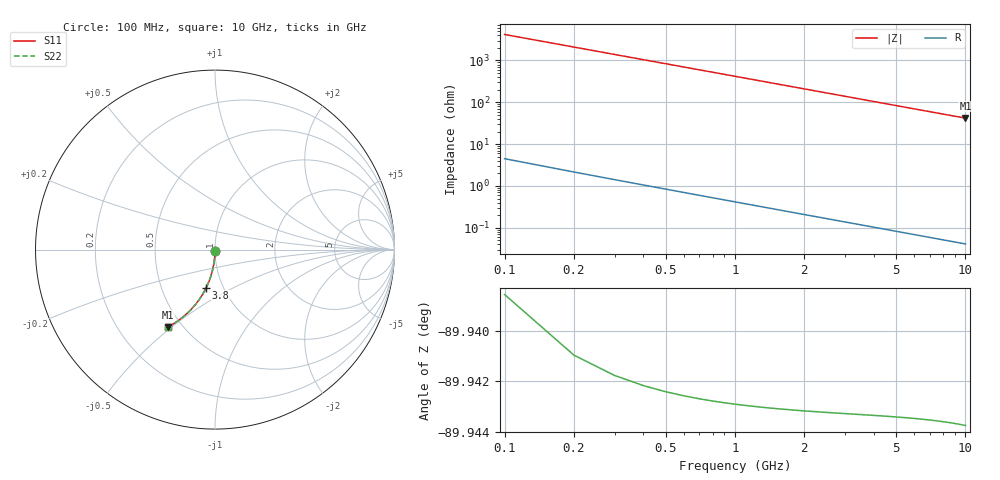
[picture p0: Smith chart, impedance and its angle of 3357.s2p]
# Hz S RI R 50.00
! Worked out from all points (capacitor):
!   100 points, 100 MHz to 10 GHz, reference 50 ohm
!   read as one part in shunt: C = 380 fF near 100 MHz
!   lowest |Z| = 42 ohm at 10 GHz (marker M1)
!   S11 on the Smith chart (normalised r, x): 100 MHz: 1.00, -0.01; 3.8 GHz: 0.83, -0.37; 10 GHz: 0.42, -0.48
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1e8  -2.47e-05 -0.00588  0.9999 -0.00605  0.9999 -0.00605  -2.47e-05 -0.00588
2e8  -0.000137 -0.0118  0.9998 -0.0121  0.9998 -0.0121  -0.000137 -0.0118
3e8  -0.000321 -0.0176  0.9996 -0.0182  0.9996 -0.0182  -0.000321 -0.0176
4e8  -0.000576 -0.0235  0.9994 -0.0242  0.9994 -0.0242  -0.000576 -0.0235
5e8  -0.000902 -0.0294  0.9991 -0.0302  0.9991 -0.0302  -0.000902 -0.0294
6e8  -0.0013 -0.0352  0.9987 -0.0363  0.9987 -0.0363  -0.0013 -0.0352
7e8  -0.00177 -0.0411  0.9982 -0.0423  0.9982 -0.0423  -0.00177 -0.0411
8e8  -0.0023 -0.0469  0.9977 -0.0483  0.9977 -0.0483  -0.0023 -0.0469
9e8  -0.00291 -0.0528  0.9971 -0.0543  0.9971 -0.0543  -0.00291 -0.0528
1.1e9  -0.00434 -0.0644  0.9956 -0.0663  0.9956 -0.0663  -0.00434 -0.0644
1.4e9  -0.007 -0.0818  0.993 -0.0842  0.993 -0.0842  -0.007 -0.0818
1.8e9  -0.0115 -0.1046  0.9885 -0.1078  0.9885 -0.1078  -0.0115 -0.1046
2.1e9  -0.0156 -0.1216  0.9844 -0.1253  0.9844 -0.1253  -0.0156 -0.1216
2.5e9  -0.0219 -0.1438  0.978 -0.1482  0.978 -0.1482  -0.0219 -0.1438
2.9e9  -0.0293 -0.1656  0.9707 -0.1707  0.9707 -0.1707  -0.0293 -0.1656
3.4e9  -0.0398 -0.192  0.9602 -0.198  0.9602 -0.198  -0.0398 -0.192
3.8e9  -0.0492 -0.2125  0.9507 -0.2192  0.9507 -0.2192  -0.0492 -0.2125
4.4e9  -0.0649 -0.242  0.935 -0.2498  0.935 -0.2498  -0.0649 -0.242
5.1e9  -0.0853 -0.2744  0.9146 -0.2834  0.9146 -0.2834  -0.0853 -0.2744
6.7e9  -0.1387 -0.3392  0.8612 -0.3512  0.8612 -0.3512  -0.1387 -0.3392
8.4e9  -0.2021 -0.3935  0.7978 -0.4087  0.7978 -0.4087  -0.2021 -0.3935
1e10  -0.2642 -0.4313  0.7356 -0.4495  0.7356 -0.4495  -0.2642 -0.4313
